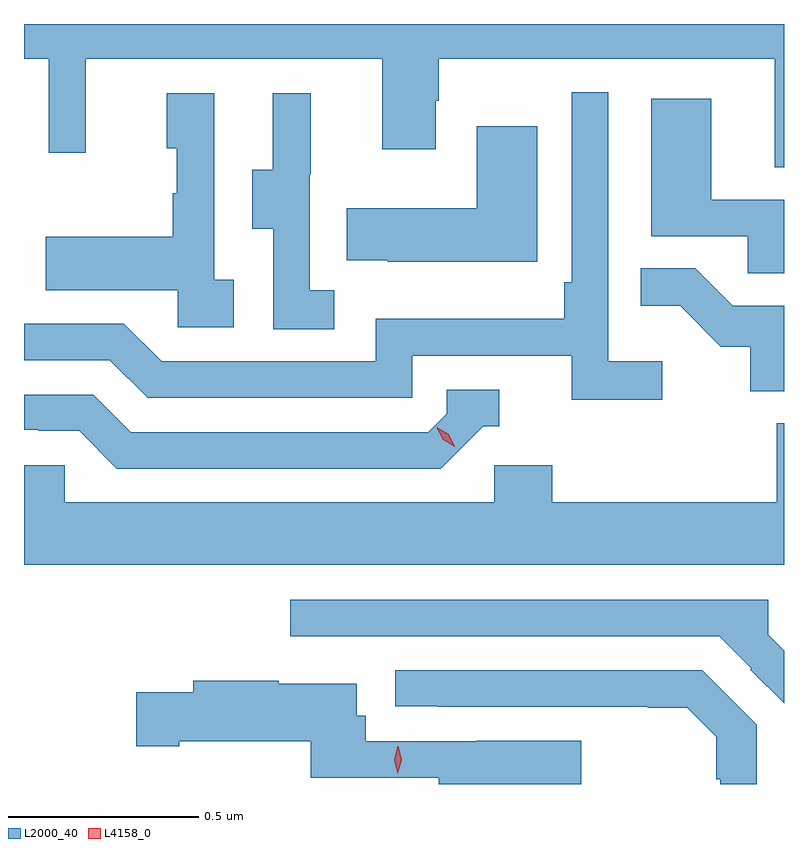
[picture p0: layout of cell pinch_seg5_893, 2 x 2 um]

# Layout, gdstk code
import gdstk
lib = gdstk.Library(unit=1e-6, precision=1e-09)
def P(c, l, *ps):  # polygons
    for p in ps: c.add(gdstk.Polygon(p, *l))
L2000_40 = (2000, 40)
L4158_0 = (4158, 0)

pinch_seg5_893 = lib.new_cell('pinch_seg5_893')
P(pinch_seg5_893, L2000_40, [(828.6,886.155),(826.6,886.155),(826.6,886.064),(826.665,886.064),(826.665,885.816),(826.763,885.816),(826.763,886.064),(827.543,886.064),(827.543,885.825),(827.683,885.825),(827.683,885.953),(827.691,885.953),(827.691,886.064),(828.575,886.064),(828.575,885.778),(828.6,885.778)],
  [(828.28,885.268),(828.138,885.268),(828.138,885.976),(828.042,885.976),(828.042,885.475),(828.022,885.475),(828.022,885.379),(827.526,885.379),(827.526,885.267),(826.962,885.267),(826.863,885.366),(826.6,885.366),(826.6,885.27),(826.826,885.27),(826.925,885.171),(827.622,885.171),(827.622,885.282),(828.041,885.282),(828.041,885.166),(828.28,885.166)],
  [(827.416,885.455),(827.352,885.455),(827.352,885.759),(827.354,885.759),(827.354,885.973),(827.255,885.973),(827.255,885.771),(827.201,885.771),(827.201,885.616),(827.256,885.616),(827.256,885.352),(827.416,885.352)],
  [(827.152,885.482),(827.1,885.482),(827.1,885.973),(826.976,885.973),(826.976,885.828),(827.002,885.828),(827.002,885.71),(826.992,885.71),(826.992,885.595),(826.657,885.595),(826.657,885.455),(827.004,885.455),(827.004,885.357),(827.152,885.357)],
  [(828.6,885.693),(828.409,885.693),(828.409,885.958),(828.251,885.958),(828.251,885.597),(828.505,885.597),(828.505,885.499),(828.6,885.499)],
  [(827.95,885.886),(827.792,885.886),(827.792,885.67),(827.449,885.67),(827.449,885.533),(827.557,885.533),(827.557,885.53),(827.95,885.53)],
  [(828.6,885.414),(828.465,885.414),(828.367,885.512),(828.223,885.512),(828.223,885.413),(828.327,885.413),(828.434,885.306),(828.511,885.306),(828.511,885.189),(828.6,885.189)],
  [(827.808,885.096),(827.851,885.096),(827.851,885.192),(827.712,885.192),(827.712,885.129),(827.664,885.081),(826.881,885.081),(826.782,885.18),(826.6,885.18),(826.6,885.087),(826.638,885.087),(826.638,885.084),(826.745,885.084),(826.844,884.985),(827.697,884.985)],
  [(828.6,885.104),(828.581,885.104),(828.581,884.896),(827.99,884.896),(827.99,884.994),(827.838,884.994),(827.838,884.896),(826.707,884.896),(826.707,884.994),(826.6,884.994),(826.6,884.732),(828.6,884.732)],
  [(828.6,884.506),(828.558,884.548),(828.558,884.64),(827.301,884.64),(827.301,884.544),(828.429,884.544),(828.514,884.459),(828.511,884.456),(828.6,884.367)],
  [(828.528,884.311),(828.385,884.454),(827.577,884.454),(827.577,884.359),(827.689,884.359),(827.689,884.358),(828.242,884.358),(828.242,884.356),(828.346,884.356),(828.422,884.28),(828.422,884.168),(828.432,884.168),(828.432,884.155),(828.528,884.155)],
  [(828.067,884.269),(827.791,884.269),(827.791,884.268),(827.499,884.268),(827.499,884.334),(827.476,884.334),(827.476,884.419),(827.27,884.419),(827.27,884.427),(827.045,884.427),(827.045,884.397),(826.896,884.397),(826.896,884.255),(827.008,884.255),(827.008,884.267),(827.354,884.267),(827.354,884.172),(827.691,884.172),(827.691,884.155),(828.067,884.155)])
P(pinch_seg5_893, L4158_0, [(827.734,885.042),(827.703,885.061),(827.686,885.093),(827.686,885.094),(827.686,885.094),(827.718,885.075),(827.734,885.042),(827.734,885.042)],
  [(827.583,884.183),(827.583,884.183),(827.574,884.219),(827.584,884.255),(827.584,884.255),(827.585,884.255),(827.594,884.219),(827.583,884.183)])

lib.write_gds('pinch_seg5_893.gds')
